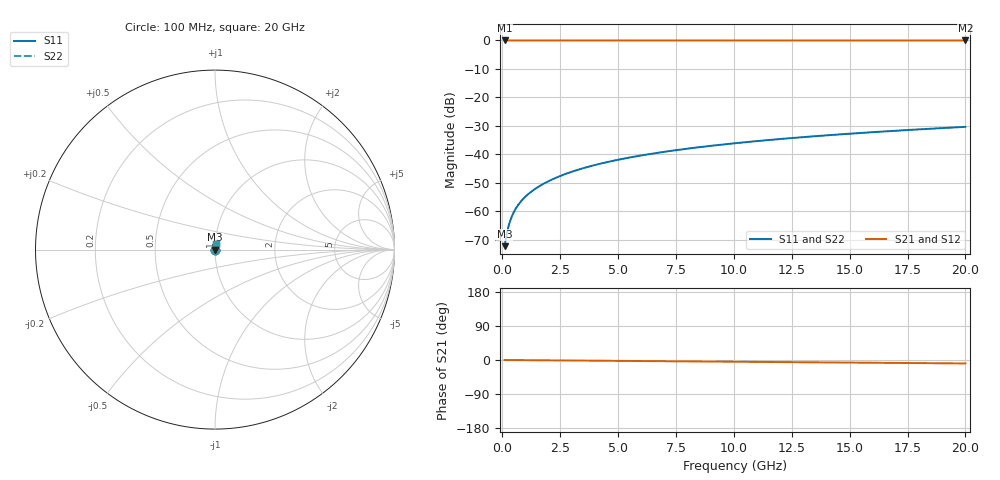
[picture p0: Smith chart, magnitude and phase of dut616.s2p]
! Touchstone file exported from HFSS 2026.1.0
!  File:  C:/ffzhzh/LocalFiles/Ansys_Project_Files/temp_train_TSV_616_1783025803_4048.aedt
!  Generated:  04:59:11 AM Jul  3, 2026
!  Design:  TSV
!  Project:  temp_train_TSV_616_1783025803_4048
! Variables:
!  h_bsmrdl = 2um
!  h_ox = 20um
!  h_rdl = 5um
!  h_sub = 88.63um
!  h_tmrdl = 5um
!  h_tsv = 88.63um
!  h_via = 3um
!  l_bsmrdl = 300um
!  l_sub = 419.32um
!  l_tmrdl = 200um
!  m_sub = 200um
!  pitch = 49.18um
!  r_tsv = 9.66um
!  s_tmrdl = 10um
!  w_bsmrdl = 18um
!  w_sub = 500um
!  w_tmrdl = 12um
!  x_tsv_center1 = 206um
!  x_tsv_center2 = 524um
!  x_tsv_center3 = 736um
!  x_tsv_center4 = 1054um
!  x_tsv_center5 = 1266um
!  x_tsv_center6 = 1584um
# GHz S MA R 50.000000
! Terminal data exported
! Port[1] = TSV1_1_T1
! Port[2] = TSV1_1_T2
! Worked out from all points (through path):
!   200 points, 100 MHz to 20 GHz, reference 50 ohm
!   highest |S21| = 0.00 dB at 100 MHz (marker M1); lowest = 0.0 dB at 20 GHz (marker M2)
!   group delay of S21, straight-line fit = 1.26 ps
!   lowest |S11| = -72.2 dB at 100 MHz (marker M3), VSWR 1.00, Z = 50 + j0.0198 ohm
!   |S11| at or under -10 dB: start of sweep to end of sweep
!   |S22| runs from -72.2 to -30.3 dB; largest |S21 - S12| = 3.9e-15
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0.1  0.0002442 54.0  0.9999 -0.0  0.9999 -0.0  0.0002442 54.0
! Gamma 0 0 0 0
! Port Impedance 50 0 50 0
0.2  0.0004222 68.4  0.9998 -0.1  0.9998 -0.1  0.0004222 68.4
0.3  0.0006083 73.4  0.9998 -0.1  0.9998 -0.1  0.0006083 73.4
0.4  0.0007925 75.6  0.9998 -0.2  0.9998 -0.2  0.0007925 75.6
0.5  0.0009724 76.8  0.9998 -0.2  0.9998 -0.2  0.0009724 76.8
0.6  0.001147 77.5  0.9998 -0.3  0.9998 -0.3  0.001147 77.5
0.7  0.001318 78.0  0.9997 -0.3  0.9997 -0.3  0.001318 78.0
0.8  0.001485 78.4  0.9997 -0.4  0.9997 -0.4  0.001485 78.4
1  0.001811 79.0  0.9997 -0.5  0.9997 -0.5  0.001811 79.0
1.4  0.002446 80.1  0.9996 -0.7  0.9996 -0.7  0.002446 80.1
1.7  0.002916 80.8  0.9996 -0.8  0.9996 -0.8  0.002916 80.8
2  0.003385 81.3  0.9995 -0.9  0.9995 -0.9  0.003385 81.3
2.7  0.004478 82.1  0.9995 -1.2  0.9995 -1.2  0.004478 82.1
3.5  0.005724 82.5  0.9994 -1.6  0.9994 -1.6  0.005724 82.5
4.2  0.006807 82.7  0.9993 -1.9  0.9993 -1.9  0.006807 82.7
5  0.008038 82.7  0.9993 -2.3  0.9993 -2.3  0.008038 82.7
6.8  0.01078 82.5  0.9991 -3.1  0.9991 -3.1  0.01078 82.5
8.3  0.01305 82.2  0.999 -3.8  0.999 -3.8  0.01305 82.2
10.1  0.01575 81.7  0.9989 -4.6  0.9989 -4.6  0.01575 81.7
13.4  0.02068 80.7  0.9986 -6.1  0.9986 -6.1  0.02068 80.7
16.7  0.02556 79.5  0.9984 -7.6  0.9984 -7.6  0.02556 79.5
20  0.03038 78.2  0.9981 -9.1  0.9981 -9.1  0.03038 78.2
